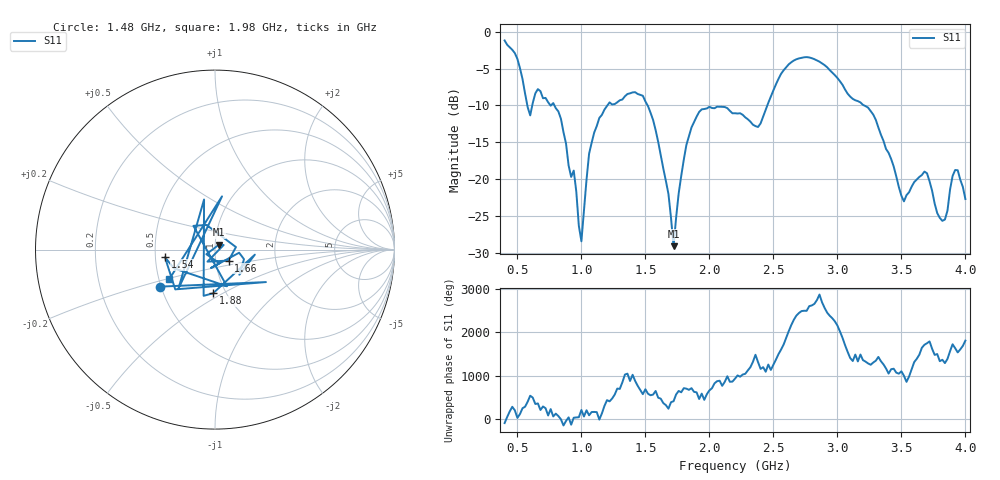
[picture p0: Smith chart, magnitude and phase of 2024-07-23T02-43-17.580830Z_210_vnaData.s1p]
!Created with skrf (http://scikit-rf.org).
# Hz S RI R 50.0
!freq ReS11 ImS11
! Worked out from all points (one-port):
!   181 points, 400 MHz to 4 GHz, reference 50 ohm
!   lowest |S11| = -29.1 dB at 1.72 GHz (marker M1), VSWR 1.07, Z = 52.2 + j2.84 ohm
!   |S11| at or under -10 dB: 789.1 MHz to 1.203 GHz (413.7 MHz wide, 41.5 % of centre); 1.517 GHz to 2.452 GHz (935 MHz wide, 47.1 % of centre); 3.209 GHz to end of sweep (the widest 3 of 5)
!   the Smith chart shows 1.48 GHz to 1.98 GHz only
!   S11 on the Smith chart (normalised r, x): 1.48 GHz: 0.50, -0.24; 1.54 GHz: 0.56, -0.05; 1.66 GHz: 1.15, -0.14; 1.88 GHz: 0.87, -0.45; 1.98 GHz: 0.57, -0.20
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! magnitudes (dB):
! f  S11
! 400 MHz  -1.2
! 500 MHz  -3.7
! 600 MHz  -11.4
! 660 MHz  -7.8
! 860 MHz  -13.6
! 940 MHz  -18.9
! 1 GHz  -28.5
! 1.06 GHz  -16.6
! 1.1 GHz  -13.7
! 1.3 GHz  -9.3
! 1.48 GHz  -8.7
! 1.54 GHz  -11.0
! 1.66 GHz  -20.3
! 1.72 GHz  -29.1
! 1.76 GHz  -21.9
! 1.88 GHz  -12.3
! 1.98 GHz  -10.4
! 2.2 GHz  -11.1
! 2.38 GHz  -12.9
! 2.66 GHz  -3.9
! 3.1 GHz  -8.8
! 3.28 GHz  -11.2
! 3.52 GHz  -23.0
! 3.56 GHz  -21.8
! 3.7 GHz  -19.2
! 3.82 GHz  -25.7
! 3.94 GHz  -18.8
! 4 GHz  -22.7
